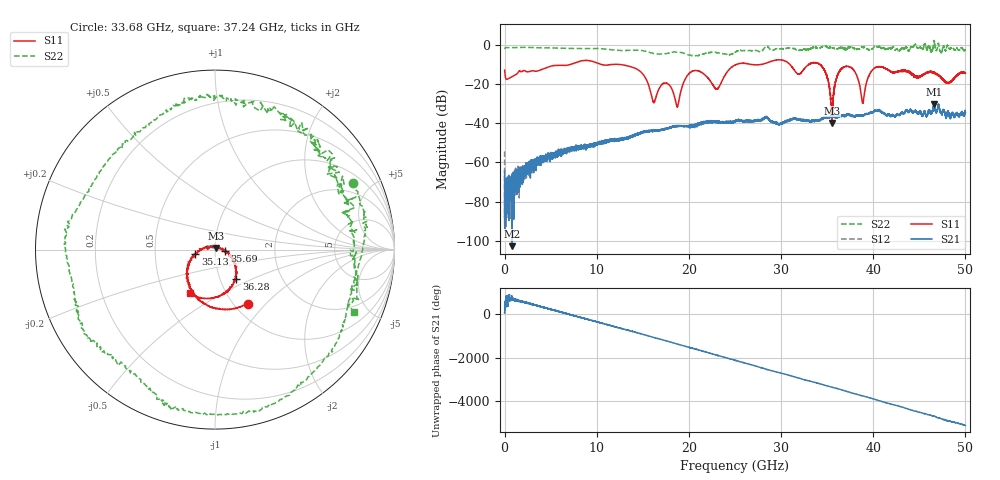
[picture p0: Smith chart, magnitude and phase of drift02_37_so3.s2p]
!Created with skrf (http://scikit-rf.org).
# Hz S RI R 50.0
!freq ReS11 ImS11 ReS21 ImS21 ReS12 ImS12 ReS22 ImS22
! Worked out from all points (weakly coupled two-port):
!   10001 points, 300 kHz to 50 GHz, reference 50 ohm
!   highest |S21| = -30.24 dB at 46.61 GHz (marker M1); lowest = -102.8 dB at 775.3 MHz (marker M2)
!   lowest |S11| = -39.9 dB at 35.53 GHz (marker M3), VSWR 1.02, Z = 50.5 + j0.87 ohm
!   |S11| at or under -10 dB: start of sweep to 7.177 GHz; 12.36 GHz to 25.18 GHz (12.82 GHz wide, 68.3 % of centre); 34.2 GHz to end of sweep (the widest 3 of 16)
!   |S22| runs from -5.7 to 2.2 dB; largest |S21 - S12| = 0.0037
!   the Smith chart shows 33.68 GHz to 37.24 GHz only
!   S11 on the Smith chart (normalised r, x): 33.68 GHz: 1.15, -0.79; 35.13 GHz: 0.80, -0.04; 35.69 GHz: 1.11, -0.02; 36.28 GHz: 1.19, -0.41; 37.24 GHz: 0.68, -0.35
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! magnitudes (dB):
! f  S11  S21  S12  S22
! 300 kHz  -12.9  -64.4  -54.4  -2.2
! 255.3 MHz  -17.6  -74.8  -75.2  -1.4
! 775.3 MHz  -16.4  -102.8  -68.8  -1.5
! 8.335 GHz  -8.2  -51.1  -52.3  -1.9
! 14.03 GHz  -11.8  -46.0  -46.0  -2.8
! 16.67 GHz  -23.3  -43.8  -43.6  -4.7
! 18.74 GHz  -31.6  -41.4  -41.6  -3.7
! 20.25 GHz  -13.9  -41.1  -41.3  -5.5
! 23.04 GHz  -22.6  -39.3  -39.4  -4.1
! 25 GHz  -10.3  -39.4  -38.8  -3.9
! 33.34 GHz  -9.3  -38.5  -38.9  -1.6
! 33.68 GHz  -9.1  -38.6  -38.7  -1.4
! 35.13 GHz  -19.0  -37.1  -37.3  -1.6
! 35.53 GHz  -39.9  -36.8  -36.7  -1.7
! 35.69 GHz  -25.4  -36.6  -36.9  -1.6
! 36.28 GHz  -13.8  -36.6  -36.8  -1.6
! 37.24 GHz  -11.1  -35.5  -35.7  -1.4
! 38.86 GHz  -29.8  -35.9  -35.9  -1.3
! 39.96 GHz  -12.7  -34.5  -34.5  -1.9
! 41.67 GHz  -13.0  -35.4  -35.7  -1.9
! 46.61 GHz  -14.3  -30.2  -30.1  2.2
! 50 GHz  -14.5  -34.5  -34.3  -2.6
